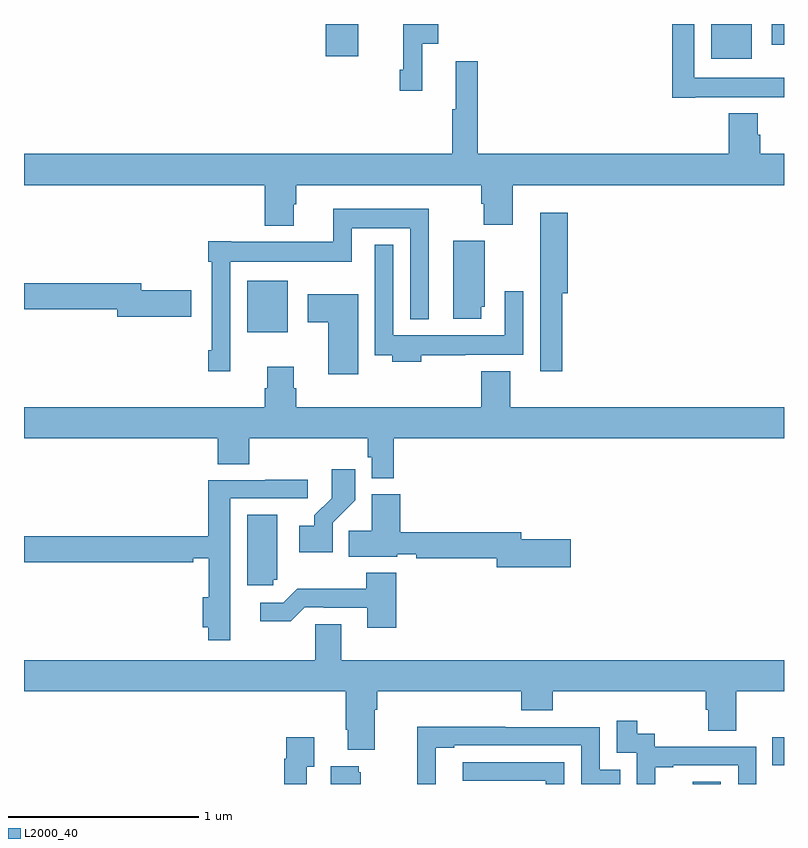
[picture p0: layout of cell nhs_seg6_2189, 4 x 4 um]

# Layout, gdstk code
import gdstk
lib = gdstk.Library(unit=1e-6, precision=1e-09)
def R(c, l, rs):  # rectangles x0, y0, x1, y1
    for r in rs: c.add(gdstk.rectangle(r[:2], r[2:], *l))
def P(c, l, *ps):  # polygons
    for p in ps: c.add(gdstk.Polygon(p, *l))
L2000_40 = (2000, 40)

nhs_seg6_2189 = lib.new_cell('nhs_seg6_2189')
R(nhs_seg6_2189, L2000_40, [(244.521,961.5,244.668,961.513), (244.939,961.599,245,961.747), (242.174,963.878,242.389,964.15), (244.616,965.318,244.831,965.5), (242.588,965.331,242.758,965.5), (244.935,965.39,245,965.5)])
P(nhs_seg6_2189, L2000_40, [(244.534,965.114),(245,965.114),(245,965.218),(244.527,965.218),(244.527,965.5),(244.411,965.5),(244.411,965.112),(244.534,965.112)],
  [(243.095,965.396),(243.181,965.396),(243.181,965.5),(242.995,965.5),(242.995,965.26),(242.977,965.26),(242.977,965.148),(243.095,965.148)],
  [(242.419,964.551),(242.432,964.551),(242.432,964.652),(243.407,964.652),(243.407,964.553),(243.419,964.553),(243.419,964.444),(243.572,964.444),(243.572,964.652),(245,964.652),(245,964.816),(244.874,964.816),(244.874,964.917),(244.861,964.917),(244.861,965.029),(244.709,965.029),(244.709,964.816),(243.389,964.816),(243.389,965.305),(243.272,965.305),(243.272,965.052),(243.253,965.052),(243.253,964.816),(241,964.816),(241,964.652),(242.267,964.652),(242.267,964.439),(242.419,964.439)],
  [(242.085,964.25),(242.724,964.25),(242.724,964.424),(243.033,964.424),(243.033,963.947),(243.13,963.947),(243.13,964.528),(242.627,964.528),(242.627,964.354),(242.092,964.354),(242.092,964.357),(241.969,964.357),(241.969,964.25),(241.989,964.25),(241.989,963.784),(241.969,963.784),(241.969,963.672),(242.085,963.672)],
  [(243.833,964.082),(243.863,964.082),(243.863,964.507),(243.716,964.507),(243.716,964.186),(243.717,964.186),(243.717,963.672),(243.833,963.672)],
  [(243.406,964.011),(243.424,964.011),(243.424,964.359),(243.26,964.359),(243.26,963.948),(243.406,963.948)],
  [(243.092,963.756),(243.323,963.756),(243.323,963.758),(243.627,963.758),(243.627,964.093),(243.531,964.093),(243.531,963.862),(242.943,963.862),(242.943,964.339),(242.847,964.339),(242.847,963.756),(242.939,963.756),(242.939,963.722),(243.092,963.722)],
  [(241.879,964.1),(241.618,964.1),(241.618,964.136),(241,964.136),(241,964),(241.49,964),(241.49,963.958),(241.879,963.958)],
  [(242.758,964.078),(242.493,964.078),(242.493,963.931),(242.6,963.931),(242.6,963.656),(242.758,963.656)],
  [(242.945,963.32),(245,963.32),(245,963.484),(243.559,963.484),(243.559,963.673),(243.407,963.673),(243.407,963.484),(242.432,963.484),(242.432,963.582),(242.419,963.582),(242.419,963.697),(242.279,963.697),(242.279,963.582),(242.267,963.582),(242.267,963.484),(241,963.484),(241,963.32),(242.021,963.32),(242.021,963.184),(242.186,963.184),(242.186,963.32),(242.809,963.32),(242.809,963.219),(242.829,963.219),(242.829,963.11),(242.945,963.11)],
  [(242.625,962.875),(242.744,962.994),(242.744,963.157),(242.619,963.157),(242.619,963.005),(242.528,962.915),(242.528,962.86),(242.448,962.86),(242.448,962.72),(242.625,962.72)],
  [(242.086,962.478),(242.085,962.478),(242.085,963.003),(242.494,963.003),(242.494,963.102),(242.269,963.102),(242.269,963.099),(241.969,963.099),(241.969,962.804),(241,962.804),(241,962.668),(241.892,962.668),(241.892,962.687),(241.973,962.687),(241.973,962.482),(241.94,962.482),(241.94,962.324),(241.969,962.324),(241.969,962.256),(242.086,962.256)],
  [(243.877,962.789),(243.616,962.789),(243.616,962.825),(242.981,962.825),(242.981,963.025),(242.831,963.025),(242.831,962.834),(242.71,962.834),(242.71,962.696),(242.964,962.696),(242.964,962.709),(243.064,962.709),(243.064,962.689),(243.488,962.689),(243.488,962.642),(243.877,962.642)],
  [(242.313,962.574),(242.332,962.574),(242.332,962.918),(242.174,962.918),(242.174,962.547),(242.313,962.547)],
  [(242.96,962.611),(242.8,962.611),(242.8,962.527),(242.437,962.527),(242.364,962.454),(242.244,962.454),(242.244,962.357),(242.405,962.357),(242.478,962.43),(242.578,962.43),(242.578,962.427),(242.807,962.427),(242.807,962.322),(242.96,962.322)],
  [(242.845,961.892),(242.858,961.892),(242.858,961.988),(243.617,961.988),(243.617,961.889),(243.782,961.889),(243.782,961.988),(244.589,961.988),(244.589,961.89),(244.601,961.89),(244.601,961.78),(244.749,961.78),(244.749,961.988),(245,961.988),(245,962.152),(242.671,962.152),(242.671,962.342),(242.532,962.342),(242.532,962.152),(241,962.152),(241,961.988),(242.693,961.988),(242.693,961.786),(242.705,961.786),(242.705,961.679),(242.845,961.679)],
  [(244.322,961.587),(244.417,961.587),(244.417,961.599),(244.758,961.599),(244.758,961.5),(244.854,961.5),(244.854,961.695),(244.32,961.695),(244.32,961.764),(244.228,961.764),(244.228,961.834),(244.119,961.834),(244.119,961.665),(244.224,961.665),(244.224,961.5),(244.322,961.5)],
  [(243.168,961.692),(243.265,961.692),(243.265,961.704),(243.933,961.704),(243.933,961.5),(244.139,961.5),(244.139,961.575),(244.029,961.575),(244.029,961.8),(243.533,961.8),(243.533,961.802),(243.07,961.802),(243.07,961.5),(243.168,961.5)],
  [(242.487,961.591),(242.527,961.591),(242.527,961.747),(242.379,961.747),(242.379,961.634),(242.371,961.634),(242.371,961.5),(242.487,961.5)],
  [(243.843,961.614),(243.309,961.614),(243.309,961.518),(243.747,961.518),(243.747,961.5),(243.843,961.5)],
  [(242.773,961.563),(242.762,961.563),(242.762,961.594),(242.615,961.594),(242.615,961.5),(242.773,961.5)])

lib.write_gds('nhs_seg6_2189.gds')
